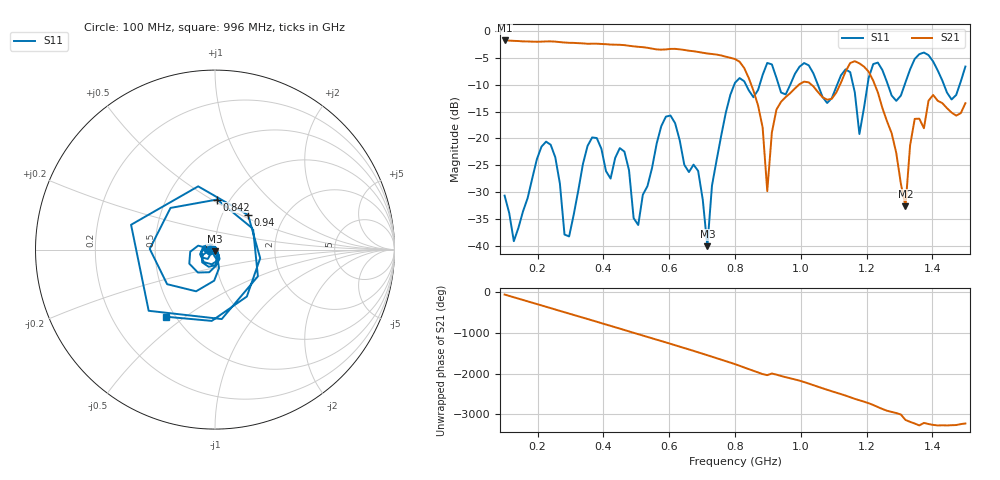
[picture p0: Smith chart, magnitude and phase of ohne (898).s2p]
! NanoVNA-App
! Date: 2025-09-25 14:27:47
! Start: 100MHz Stop: 1,5GHz Points: 101
! S-Parameter data: F S11 S21 S12 S22
# Hz S RI R 50
!  Frequency  S11_Real  S11_Imag  S21_Real  S21_Imag  S12_Real  S12_Imag  S22_Real  S22_Imag
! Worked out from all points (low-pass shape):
!   101 points, 100 MHz to 1.5 GHz, reference 50 ohm
!   highest |S21| = -1.79 dB at 100 MHz (marker M1); lowest = -32.6 dB at 1.318 GHz (marker M2)
!   |S21| within 3 dB of the highest: start of sweep to 770.9 MHz
!   lowest |S11| = -40.0 dB at 716 MHz (marker M3), VSWR 1.02, Z = 49.7 - j0.96 ohm
!   |S11| at or under -10 dB: start of sweep to 797.8 MHz; 833.1 MHz to 875 MHz (41.91 MHz wide, 4.91 % of centre); 1.052 GHz to 1.111 GHz (58.91 MHz wide, 5.45 % of centre) (the widest 3 of 7)
!   S12 and S22 are empty: the file has one direction only
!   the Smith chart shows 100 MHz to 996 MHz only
!   S11 on the Smith chart (normalised r, x): 100 MHz: 0.94, -0.01; 842 MHz: 0.88, +0.53; 940 MHz: 1.32, +0.55; 996 MHz: 0.44, -0.42
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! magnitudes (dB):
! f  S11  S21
! 100 MHz  -30.6  -1.8
! 128 MHz  -39.1  -1.9
! 226 MHz  -20.6  -2.0
! 296 MHz  -38.2  -2.2
! 338 MHz  -24.8  -2.3
! 464 MHz  -22.5  -2.7
! 506 MHz  -36.1  -3.0
! 576 MHz  -17.7  -3.5
! 688 MHz  -26.0  -3.9
! 716 MHz  -40.0  -4.2
! 800 MHz  -9.7  -5.2
! 842 MHz  -11.1  -8.8
! 898 MHz  -6.0  -29.8
! 940 MHz  -11.5  -13.2
! 996 MHz  -6.7  -9.9
! 1.038 GHz  -7.9  -10.3
! 1.178 GHz  -19.2  -6.1
! 1.22 GHz  -6.2  -9.3
! 1.276 GHz  -12.0  -19.0
! 1.318 GHz  -9.6  -32.6
! 1.346 GHz  -5.2  -16.4
! 1.5 GHz  -6.6  -13.5
